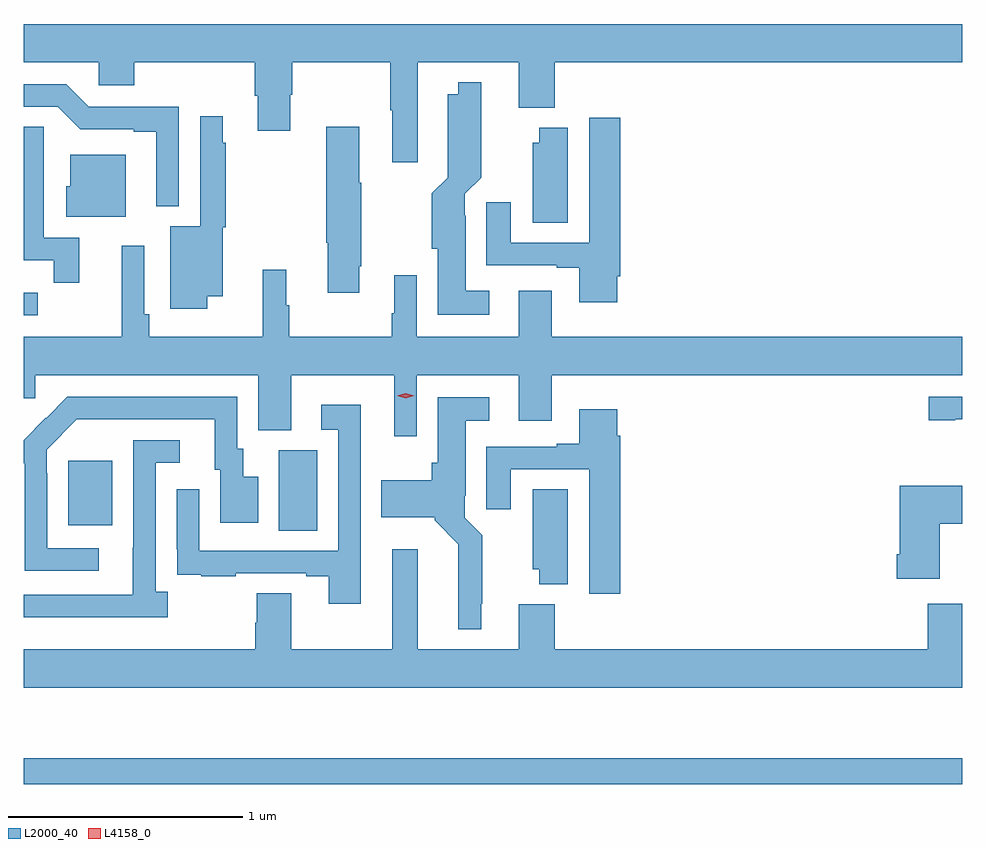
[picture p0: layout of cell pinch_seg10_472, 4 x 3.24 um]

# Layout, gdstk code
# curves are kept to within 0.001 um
import gdstk
lib = gdstk.Library(unit=1e-6, precision=1e-09)
def R(c, l, rs):  # rectangles x0, y0, x1, y1
    for r in rs: c.add(gdstk.rectangle(r[:2], r[2:], *l))
def P(c, l, *ps):  # polygons
    for p in ps: c.add(gdstk.Polygon(p, *l))
L2000_40 = (2000, 40)
L4158_0 = (4158, 0)

pinch_seg10_472 = lib.new_cell('pinch_seg10_472')
R(pinch_seg10_472, L2000_40, [(205.567,1291.914,209.567,1292.023), (206.654,1292.992,206.818,1293.336), (205.757,1293.017,205.945,1293.292), (205.567,1293.912,205.627,1294.008)])
P(pinch_seg10_472, L2000_40, [(207.247,1294.988),(207.677,1294.988),(207.677,1294.796),(207.83,1294.796),(207.83,1294.988),(209.567,1294.988),(209.567,1295.152),(205.567,1295.152),(205.567,1294.988),(205.887,1294.988),(205.887,1294.89),(206.039,1294.89),(206.039,1294.988),(206.552,1294.988),(206.552,1294.846),(206.564,1294.846),(206.564,1294.698),(206.704,1294.698),(206.704,1294.851),(206.712,1294.851),(206.712,1294.988),(207.13,1294.988),(207.13,1294.784),(207.137,1294.784),(207.137,1294.563),(207.247,1294.563)],
  [(207.55,1294.015),(207.451,1294.015),(207.451,1294.334),(207.447,1294.334),(207.447,1294.428),(207.517,1294.498),(207.516,1294.903),(207.419,1294.903),(207.419,1294.852),(207.374,1294.852),(207.374,1294.498),(207.307,1294.431),(207.307,1294.194),(207.332,1294.194),(207.332,1293.914),(207.55,1293.914)],
  [(206.229,1294.8),(205.845,1294.8),(205.749,1294.896),(205.567,1294.896),(205.567,1294.8),(205.713,1294.8),(205.809,1294.704),(206.036,1294.704),(206.036,1294.692),(206.132,1294.692),(206.132,1294.376),(206.229,1294.376)],
  [(206.35,1293.992),(206.416,1293.992),(206.416,1294.287),(206.428,1294.287),(206.428,1294.646),(206.416,1294.646),(206.416,1294.759),(206.319,1294.759),(206.319,1294.291),(206.192,1294.291),(206.192,1293.939),(206.35,1293.939)],
  [(208.096,1294.078),(208.109,1294.078),(208.109,1294.753),(207.977,1294.753),(207.977,1294.221),(207.643,1294.221),(207.643,1294.393),(207.539,1294.393),(207.539,1294.125),(207.839,1294.125),(207.839,1294.113),(207.935,1294.113),(207.935,1293.966),(208.096,1293.966)],
  [(205.805,1294.242),(205.654,1294.242),(205.654,1294.604),(205.653,1294.604),(205.653,1294.715),(205.567,1294.715),(205.567,1294.146),(205.696,1294.146),(205.696,1294.05),(205.805,1294.05)],
  [(206.998,1294.12),(207.006,1294.12),(207.006,1294.475),(206.998,1294.475),(206.998,1294.714),(206.857,1294.714),(206.857,1294.22),(206.864,1294.22),(206.864,1294.008),(206.998,1294.008)],
  [(207.886,1294.711),(207.764,1294.711),(207.764,1294.647),(207.737,1294.647),(207.737,1294.306),(207.886,1294.306)],
  [(206.002,1294.594),(205.766,1294.594),(205.766,1294.461),(205.748,1294.461),(205.748,1294.331),(206.002,1294.331)],
  [(207.243,1293.656),(207.677,1293.656),(207.677,1293.462),(207.817,1293.462),(207.817,1293.656),(209.567,1293.656),(209.567,1293.82),(207.817,1293.82),(207.817,1294.015),(207.677,1294.015),(207.677,1293.82),(207.243,1293.82),(207.243,1294.081),(207.146,1294.081),(207.146,1293.92),(207.135,1293.92),(207.135,1293.82),(206.698,1293.82),(206.698,1293.954),(206.686,1293.954),(206.686,1294.105),(206.587,1294.105),(206.587,1293.82),(206.102,1293.82),(206.102,1293.916),(206.082,1293.916),(206.082,1294.207),(205.985,1294.207),(205.985,1293.82),(205.567,1293.82),(205.567,1293.558),(205.617,1293.558),(205.617,1293.656),(206.567,1293.656),(206.567,1293.421),(206.707,1293.421),(206.707,1293.656),(207.146,1293.656),(207.146,1293.396),(207.243,1293.396)],
  [(205.888,1292.919),(205.668,1292.919),(205.668,1293.239),(205.665,1293.239),(205.665,1293.339),(205.794,1293.468),(206.381,1293.468),(206.381,1293.252),(206.405,1293.252),(206.405,1293.027),(206.566,1293.027),(206.566,1293.223),(206.503,1293.223),(206.503,1293.342),(206.478,1293.342),(206.478,1293.564),(205.754,1293.564),(205.567,1293.379),(205.567,1293.281),(205.572,1293.281),(205.572,1292.823),(205.888,1292.823)],
  [(209.536,1293.468),(209.567,1293.468),(209.567,1293.564),(209.424,1293.564),(209.424,1293.463),(209.536,1293.463)],
  [(207.517,1292.683),(207.521,1292.683),(207.521,1292.974),(207.447,1293.048),(207.447,1293.142),(207.451,1293.142),(207.451,1293.461),(207.55,1293.461),(207.55,1293.562),(207.332,1293.562),(207.332,1293.282),(207.307,1293.282),(207.307,1293.208),(207.09,1293.208),(207.09,1293.05),(207.318,1293.05),(207.318,1293.038),(207.42,1292.936),(207.419,1292.573),(207.517,1292.573)],
  [(207.004,1292.904),(207.003,1292.904),(207.003,1293.304),(207.004,1293.304),(207.004,1293.529),(206.835,1293.529),(206.835,1293.423),(206.907,1293.423),(206.907,1292.907),(206.316,1292.907),(206.316,1293.169),(206.22,1293.169),(206.22,1292.914),(206.221,1292.914),(206.221,1292.805),(206.323,1292.805),(206.323,1292.799),(206.471,1292.799),(206.471,1292.811),(206.771,1292.811),(206.771,1292.799),(206.867,1292.799),(206.867,1292.682),(207.004,1292.682)],
  [(208.109,1293.398),(208.096,1293.398),(208.096,1293.511),(207.935,1293.511),(207.935,1293.364),(207.839,1293.364),(207.839,1293.351),(207.539,1293.351),(207.539,1293.084),(207.643,1293.084),(207.643,1293.255),(207.977,1293.255),(207.977,1292.724),(208.109,1292.724)],
  [(206.182,1292.734),(206.13,1292.734),(206.13,1293.282),(206.233,1293.282),(206.233,1293.378),(206.034,1293.378),(206.034,1292.921),(206.033,1292.921),(206.033,1292.721),(205.567,1292.721),(205.567,1292.624),(206.182,1292.624)],
  [(209.47,1293.022),(209.567,1293.022),(209.567,1293.184),(209.3,1293.184),(209.3,1292.893),(209.288,1292.893),(209.288,1292.789),(209.47,1292.789)],
  [(207.886,1293.17),(207.737,1293.17),(207.737,1292.829),(207.764,1292.829),(207.764,1292.765),(207.886,1292.765)],
  [(209.567,1292.683),(209.42,1292.683),(209.42,1292.488),(207.83,1292.488),(207.83,1292.68),(207.677,1292.68),(207.677,1292.488),(207.247,1292.488),(207.247,1292.914),(207.137,1292.914),(207.137,1292.488),(206.707,1292.488),(206.707,1292.726),(206.56,1292.726),(206.56,1292.601),(206.555,1292.601),(206.555,1292.488),(205.567,1292.488),(205.567,1292.324),(209.567,1292.324)])
P(pinch_seg10_472, L4158_0, [(207.196,1293.558),(207.16,1293.568),(207.16,1293.568),(207.16,1293.569),(207.196,1293.578),(207.23,1293.569),(207.231,1293.568),(207.23,1293.568)])

lib.write_gds('pinch_seg10_472.gds')
